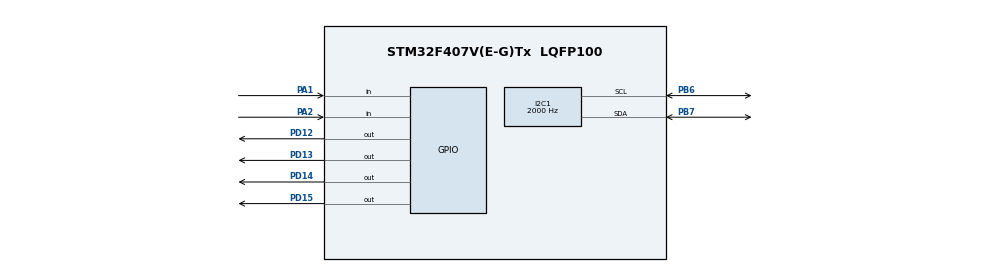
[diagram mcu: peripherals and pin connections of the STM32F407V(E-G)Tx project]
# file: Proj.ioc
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I2C1.ClockSpeed=2000
I2C1.OwnAddress=51
Mcu.Family=STM32F4
Mcu.Name=STM32F407V(E-G)Tx
Mcu.Package=LQFP100
NVIC.PriorityGroup=NVIC_PRIORITYGROUP_4
NVIC.TIM2_IRQn=true\:0\:0\:false\:false\:true\:true\:true
PA1.Signal=GPIO_Input
PA13.Mode=Serial_Wire
PA13.Signal=SYS_JTMS-SWDIO
PA14.Mode=Serial_Wire
PA14.Signal=SYS_JTCK-SWCLK
PA2.Signal=GPIO_Input
PB6.Mode=I2C
PB6.Signal=I2C1_SCL
PB7.Mode=I2C
PB7.Signal=I2C1_SDA
PD12.Signal=GPIO_Output
PD13.Signal=GPIO_Output
PD14.Signal=GPIO_Output
PD15.Signal=GPIO_Output
PH0-OSC_IN.Mode=HSE-External-Oscillator
PH0-OSC_IN.Signal=RCC_OSC_IN
PH1-OSC_OUT.Mode=HSE-External-Oscillator
PH1-OSC_OUT.Signal=RCC_OSC_OUT
ProjectManager.HeapSize=0x200
ProjectManager.StackSize=0x400
ProjectManager.TargetToolchain=TrueSTUDIO
RCC.AHBFreq_Value=16000000
RCC.APB1Freq_Value=16000000
RCC.APB2Freq_Value=16000000
RCC.CortexFreq_Value=16000000
RCC.HSE_VALUE=25000000
RCC.HSI_VALUE=16000000
RCC.LSE_VALUE=32768
RCC.SYSCLKFreq_VALUE=16000000
RCC.VCOOutputFreq_Value=192000000
TIM2.Period=3000
TIM2.Prescaler=200
TIM2.TIM_MasterOutputTrigger=TIM_TRGO_UPDATE
VP_TIM2_VS_ClockSourceINT.Mode=Internal
board=custom

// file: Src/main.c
/* USER CODE BEGIN Header */
/**
  ******************************************************************************
  * @file           : main.c
  * @brief          : Main program body
  ******************************************************************************
  * @attention
  *
  * <h2><center>&copy; Copyright (c) 2020 STMicroelectronics.
  * All rights reserved.</center></h2>
  *
  * This software component is licensed by ST under BSD 3-Clause license,
  * the "License"; You may not use this file except in compliance with the
  * License. You may obtain a copy of the License at:
  *                        opensource.org/licenses/BSD-3-Clause
  *
  ******************************************************************************
  */
/* USER CODE END Header */

#include "main.h"
#include "I2CTest.h"

/* USER CODE BEGIN PV */
#define LED1_ON() LL_GPIO_SetOutputPin(GPIOD, LL_GPIO_PIN_12)//1
#define LED1_OFF() LL_GPIO_ResetOutputPin(GPIOD, LL_GPIO_PIN_12)

#define LED2_ON() LL_GPIO_SetOutputPin(GPIOD, LL_GPIO_PIN_13)
#define LED2_OFF() LL_GPIO_ResetOutputPin(GPIOD, LL_GPIO_PIN_13)

#define LED3_ON() LL_GPIO_SetOutputPin(GPIOD, LL_GPIO_PIN_14)
#define LED3_OFF() LL_GPIO_ResetOutputPin(GPIOD, LL_GPIO_PIN_14)

#define LED4_ON() LL_GPIO_SetOutputPin(GPIOD, LL_GPIO_PIN_15)
#define LED4_OFF() LL_GPIO_ResetOutputPin(GPIOD, LL_GPIO_PIN_15)
/* USER CODE END PV */

void SystemClock_Config(void);
static void MX_GPIO_Init(void);
static void MX_TIM2_Init(void);
static void MX_I2C1_Init(void);

int main(void)
{
  /* USER CODE BEGIN 1 */
	LED1_ON();LED1_OFF();
	LED2_ON();LED2_OFF();
	LED3_ON();LED3_OFF();
	LED4_ON();LED4_OFF();
  /* USER CODE END 1 */

  /* MCU Configuration--------------------------------------------------------*/

  /* Reset of all peripherals, Initializes the Flash interface and the Systick. */

  LL_APB2_GRP1_EnableClock(LL_APB2_GRP1_PERIPH_SYSCFG);
  LL_APB1_GRP1_EnableClock(LL_APB1_GRP1_PERIPH_PWR);

  NVIC_SetPriorityGrouping(NVIC_PRIORITYGROUP_4);

  /* System interrupt init*/

  /* Configure the system clock */
  SystemClock_Config();

  /* Initialize all configured peripherals */
  MX_GPIO_Init();
  MX_TIM2_Init();
  MX_I2C1_Init();
  /* USER CODE BEGIN 2 */
  asm("nop");
  asm("nop");
  asm("nop");
  asm("nop");
//  LL_TIM_EnableIT_UPDATE(TIM2);
  LL_TIM_EnableCounter(TIM2);
  /* USER CODE END 2 */

  /* Infinite loop */
  /* USER CODE BEGIN WHILE */
  while (1)
  {
	  SLAVETest_SetACK();

//	  AT24C_WriteBytes (0x004A, wr_value, 20);
//	  AT24C_ReadBytes (0x004A, rd_value, 20);
//	  LL_mDelay(1000);
//	if (!(LL_GPIO_ReadInputPort(GPIOA)&LL_GPIO_PIN_0))
//	{
//		LED1_ON();
//		LL_mDelay(100);
//		LED1_OFF();
//		LED2_ON();
//		LL_mDelay(100);
//		LED2_OFF();
//		LED3_ON();
//		LL_mDelay(100);
//		LED3_OFF();
//		LED4_ON();
//		LL_mDelay(100);
//		LED4_OFF();
//	}
    /* USER CODE END WHILE */

  }
}

void SystemClock_Config(void)
{
  LL_FLASH_SetLatency(LL_FLASH_LATENCY_0);

  if(LL_FLASH_GetLatency() != LL_FLASH_LATENCY_0)
  {
  Error_Handler();
  }
  LL_PWR_SetRegulVoltageScaling(LL_PWR_REGU_VOLTAGE_SCALE1);
  LL_RCC_HSI_SetCalibTrimming(16);
  LL_RCC_HSI_Enable();

   /* Wait till HSI is ready */
  while(LL_RCC_HSI_IsReady() != 1)
  {

  }
  LL_RCC_SetAHBPrescaler(LL_RCC_SYSCLK_DIV_1);
  LL_RCC_SetAPB1Prescaler(LL_RCC_APB1_DIV_1);
  LL_RCC_SetAPB2Prescaler(LL_RCC_APB2_DIV_1);
  LL_RCC_SetSysClkSource(LL_RCC_SYS_CLKSOURCE_HSI);

   /* Wait till System clock is ready */
  while(LL_RCC_GetSysClkSource() != LL_RCC_SYS_CLKSOURCE_STATUS_HSI)
  {

  }
  LL_Init1msTick(16000000);
  LL_SYSTICK_SetClkSource(LL_SYSTICK_CLKSOURCE_HCLK);
  LL_SetSystemCoreClock(16000000);
}

static void MX_I2C1_Init(void)
{

  LL_I2C_InitTypeDef I2C_InitStruct = {0};

  LL_GPIO_InitTypeDef GPIO_InitStruct = {0};

  LL_AHB1_GRP1_EnableClock(LL_AHB1_GRP1_PERIPH_GPIOB);
  /**I2C1 GPIO Configuration
  PB6   ------> I2C1_SCL
  PB7   ------> I2C1_SDA
  */
  GPIO_InitStruct.Pin = LL_GPIO_PIN_6|LL_GPIO_PIN_7;
  GPIO_InitStruct.Mode = LL_GPIO_MODE_ALTERNATE;
  GPIO_InitStruct.Speed = LL_GPIO_SPEED_FREQ_VERY_HIGH;
  GPIO_InitStruct.OutputType = LL_GPIO_OUTPUT_OPENDRAIN;
  GPIO_InitStruct.Pull = LL_GPIO_PULL_UP;
  GPIO_InitStruct.Alternate = LL_GPIO_AF_4;
  LL_GPIO_Init(GPIOB, &GPIO_InitStruct);

  /* Peripheral clock enable */
  LL_APB1_GRP1_EnableClock(LL_APB1_GRP1_PERIPH_I2C1);

  /** I2C Initialization
  */
  LL_I2C_DisableOwnAddress2(I2C1);
  LL_I2C_DisableGeneralCall(I2C1);
  LL_I2C_EnableClockStretching(I2C1);
  I2C_InitStruct.PeripheralMode = LL_I2C_MODE_I2C;
  I2C_InitStruct.ClockSpeed = 2000;
  I2C_InitStruct.DutyCycle = LL_I2C_DUTYCYCLE_2;
  I2C_InitStruct.OwnAddress1 = 102;
  I2C_InitStruct.TypeAcknowledge = LL_I2C_ACK;
  I2C_InitStruct.OwnAddrSize = LL_I2C_OWNADDRESS1_7BIT;
  LL_I2C_Init(I2C1, &I2C_InitStruct);
  LL_I2C_SetOwnAddress2(I2C1, 0);

}

static void MX_TIM2_Init(void)
{

  LL_TIM_InitTypeDef TIM_InitStruct = {0};

  /* Peripheral clock enable */
  LL_APB1_GRP1_EnableClock(LL_APB1_GRP1_PERIPH_TIM2);

  /* TIM2 interrupt Init */
  NVIC_SetPriority(TIM2_IRQn, NVIC_EncodePriority(NVIC_GetPriorityGrouping(),0, 0));
  NVIC_EnableIRQ(TIM2_IRQn);

  TIM_InitStruct.Prescaler = 200;
  TIM_InitStruct.CounterMode = LL_TIM_COUNTERMODE_UP;
  TIM_InitStruct.Autoreload = 3000;
  TIM_InitStruct.ClockDivision = LL_TIM_CLOCKDIVISION_DIV1;
  LL_TIM_Init(TIM2, &TIM_InitStruct);
  LL_TIM_DisableARRPreload(TIM2);
  LL_TIM_SetClockSource(TIM2, LL_TIM_CLOCKSOURCE_INTERNAL);
  LL_TIM_SetTriggerOutput(TIM2, LL_TIM_TRGO_UPDATE);
  LL_TIM_DisableMasterSlaveMode(TIM2);

}

static void MX_GPIO_Init(void)
{
  LL_GPIO_InitTypeDef GPIO_InitStruct = {0};

  /* GPIO Ports Clock Enable */
  LL_AHB1_GRP1_EnableClock(LL_AHB1_GRP1_PERIPH_GPIOH);
  LL_AHB1_GRP1_EnableClock(LL_AHB1_GRP1_PERIPH_GPIOA);
  LL_AHB1_GRP1_EnableClock(LL_AHB1_GRP1_PERIPH_GPIOD);
  LL_AHB1_GRP1_EnableClock(LL_AHB1_GRP1_PERIPH_GPIOB);

  /**/
  LL_GPIO_ResetOutputPin(GPIOD, LL_GPIO_PIN_12|LL_GPIO_PIN_13|LL_GPIO_PIN_14|LL_GPIO_PIN_15);

  /**/
  GPIO_InitStruct.Pin = LL_GPIO_PIN_1|LL_GPIO_PIN_2;
  GPIO_InitStruct.Mode = LL_GPIO_MODE_INPUT;
  GPIO_InitStruct.Pull = LL_GPIO_PULL_NO;
  LL_GPIO_Init(GPIOA, &GPIO_InitStruct);

  /**/
  GPIO_InitStruct.Pin = LL_GPIO_PIN_12|LL_GPIO_PIN_13|LL_GPIO_PIN_14|LL_GPIO_PIN_15;
  GPIO_InitStruct.Mode = LL_GPIO_MODE_OUTPUT;
  GPIO_InitStruct.Speed = LL_GPIO_SPEED_FREQ_LOW;
  GPIO_InitStruct.OutputType = LL_GPIO_OUTPUT_PUSHPULL;
  GPIO_InitStruct.Pull = LL_GPIO_PULL_NO;
  LL_GPIO_Init(GPIOD, &GPIO_InitStruct);

}

void Error_Handler(void)
{
}

/************************ (C) COPYRIGHT STMicroelectronics *****END OF FILE****/
